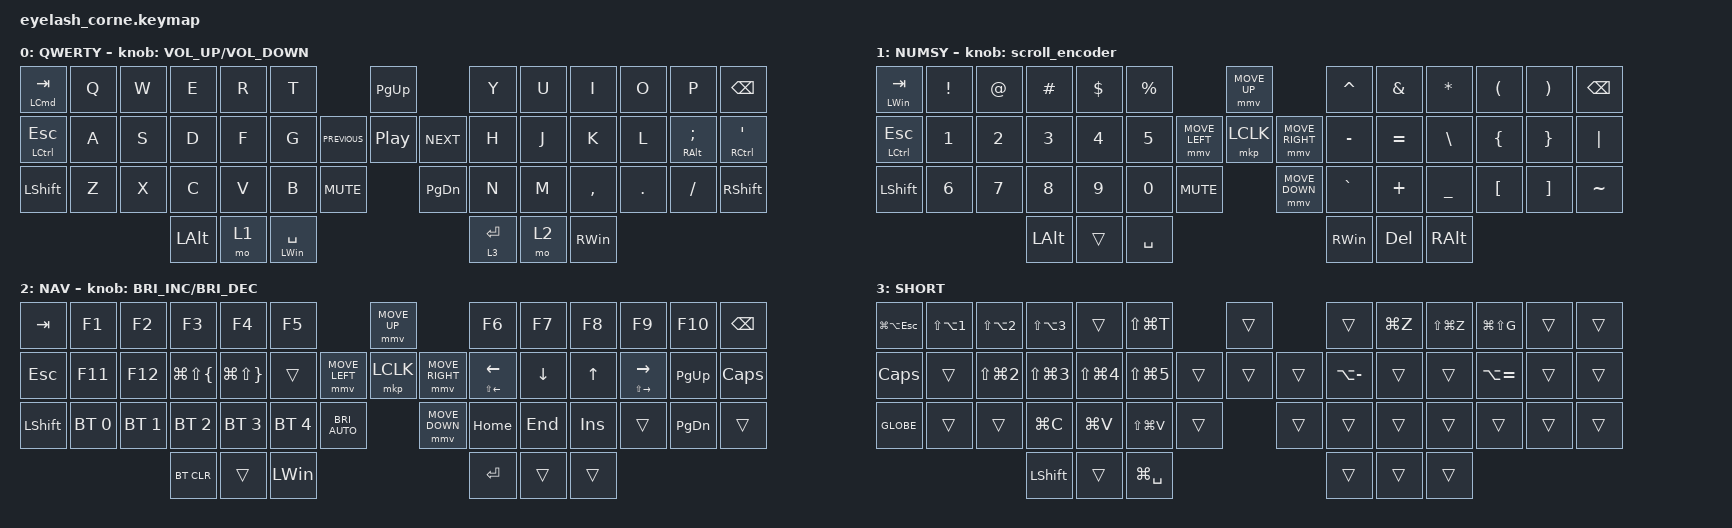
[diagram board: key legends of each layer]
#include <dt-bindings/zmk/mouse.h>
#include <input/processors.dtsi>
#include <behaviors.dtsi>
#include <dt-bindings/zmk/bt.h>
#include <dt-bindings/zmk/keys.h>
#include <dt-bindings/zmk/pointing.h>
#include <dt-bindings/zmk/pointing.h>
#include <dt-bindings/zmk/pointing.h>
#include <dt-bindings/zmk/rgb.h>

/*

   &mmv_input_listener {
       input-processors = <&zip_xy_scaler 2 1>;
   };

   &msc_input_listener {
       input-processors = <&zip_xy_scaler 2 1>;
   };

 */

#define ZMK_MOUSE_DEFAULT_MOVE_VAL 1200  // 600
#define ZMK_MOUSE_DEFAULT_SCRL_VAL 20    // 10

/ {
    behaviors {
        td0: td0 {
            compatible = "zmk,behavior-tap-dance";
            display-name = "Shift/Caps Lock Tap Dance";
            #binding-cells = <0>;
            bindings = <&kp LEFT_SHIFT>, <&kp CAPS>;
        };

        HMR: HMR {
            compatible = "zmk,behavior-hold-tap";
            label = "HMR";
            bindings = <&kp>, <&kp>;

            #binding-cells = <2>;
            flavor = "tap-preferred";
            tapping-term-ms = <250>;
            quick-tap-ms = <150>;
            hold-trigger-on-release;
        };
    };

    rgb_encoder: rgb_encoder {
        compatible = "zmk,behavior-sensor-rotate";
        #sensor-binding-cells = <0>;
        bindings = <&rgb_ug RGB_BRI>, <&rgb_ug RGB_BRD>;
    };

    scroll_encoder: scroll_encoder {
        compatible = "zmk,behavior-sensor-rotate";
        #sensor-binding-cells = <0>;
        bindings = <&msc SCRL_DOWN>, <&msc SCRL_UP>;

        tap-ms = <30>;
    };

    keymap {
        compatible = "zmk,keymap";

        default_layer {
            display-name = "QWERTY";
            bindings = <
&HMR LEFT_COMMAND TAB     &kp Q  &kp W  &kp E         &kp R  &kp T                                              &kp PAGE_UP                   &kp Y        &kp U  &kp I          &kp O    &kp P                &kp BSPC
&HMR LEFT_CONTROL ESCAPE  &kp A  &kp S  &kp D         &kp F  &kp G                              &kp C_PREVIOUS  &kp C_PLAY_PAUSE  &kp C_NEXT  &kp H        &kp J  &kp K          &kp L    &HMR RIGHT_ALT SEMI  &HMR RIGHT_CONTROL APOSTROPHE
&kp LEFT_SHIFT            &kp Z  &kp X  &kp C         &kp V  &kp B                &kp K_MUTE                    &kp PAGE_DOWN                 &kp N        &kp M  &kp COMMA      &kp DOT  &kp FSLH             &kp RIGHT_SHIFT
                                        &kp LEFT_ALT  &mo 1  &HMR LEFT_WIN SPACE                                                              &lt 3 ENTER  &mo 2  &kp RIGHT_WIN
            >;

            sensor-bindings = <&inc_dec_kp C_VOLUME_UP C_VOLUME_DOWN>;
        };

        lower_layer {
            display-name = "NUMSY";
            bindings = <
&HMR LEFT_WIN TAB         &kp EXCL      &kp AT  &kp POUND     &kp DOLLAR    &kp PERCENT                                &mmv MOVE_UP                     &kp CARET      &kp AMPERSAND  &kp STAR        &kp LEFT_PARENTHESIS  &kp RIGHT_PARENTHESIS  &kp BSPC
&HMR LEFT_CONTROL ESCAPE  &kp N1        &kp N2  &kp NUMBER_3  &kp NUMBER_4  &kp N5                     &mmv MOVE_LEFT  &mkp LCLK       &mmv MOVE_RIGHT  &kp MINUS      &kp EQUAL      &kp BACKSLASH   &kp LEFT_BRACE        &kp RIGHT_BRACE        &kp PIPE
&kp LEFT_SHIFT            &kp NUMBER_6  &kp N7  &kp N8        &kp N9        &kp N0       &kp C_MUTE                    &mmv MOVE_DOWN                   &kp GRAVE      &kp PLUS       &kp UNDERSCORE  &kp LEFT_BRACKET      &kp RIGHT_BRACKET      &kp TILDE
                                                &kp LEFT_ALT  &trans        &kp SPACE                                                                   &kp RIGHT_WIN  &kp DEL        &kp RIGHT_ALT
            >;

            sensor-bindings = <&scroll_encoder>;
        };

        raise_layer {
            display-name = "NAV";
            bindings = <
&kp TAB         &kp F1        &kp F2        &kp F3                  &kp F4                   &kp F5                                                 &mmv MOVE_UP                     &kp F6              &kp F7    &kp F8        &kp F9                &kp F10        &kp BSPC
&kp ESCAPE      &kp F11       &kp F12       &kp LG(LS(LEFT_BRACE))  &kp LG(LS(RIGHT_BRACE))  &trans                                 &mmv MOVE_LEFT  &mkp LCLK       &mmv MOVE_RIGHT  &HMR LS(LEFT) LEFT  &kp DOWN  &kp UP_ARROW  &HMR LS(RIGHT) RIGHT  &kp PAGE_UP    &kp CAPSLOCK
&kp LEFT_SHIFT  &bt BT_SEL 0  &bt BT_SEL 1  &bt BT_SEL 2            &bt BT_SEL 3             &bt BT_SEL 4  &kp C_BRIGHTNESS_AUTO                    &mmv MOVE_DOWN                   &kp HOME            &kp END   &kp INS       &trans                &kp PAGE_DOWN  &trans
                                            &bt BT_CLR              &trans                   &kp LEFT_WIN                                                                            &kp RET             &trans    &trans
            >;

            sensor-bindings = <&inc_dec_kp C_BRIGHTNESS_INC C_BRIGHTNESS_DEC>;
        };

        layer_3 {
            display-name = "SHORT";
            bindings = <
&kp LG(LA(ESCAPE))  &kp LS(LA(N1))  &kp LS(LA(N2))  &kp LS(LA(N3))  &trans          &kp LS(LG(T))                     &trans          &trans         &kp LG(Z)  &kp LS(LG(Z))  &kp LG(LS(G))  &trans  &trans
&kp CAPSLOCK        &trans          &kp LS(LG(N2))  &kp LS(LG(N3))  &kp LS(LG(N4))  &kp LS(LG(N5))            &trans  &trans  &trans  &kp LA(MINUS)  &trans     &trans         &kp LA(EQUAL)  &trans  &trans
&kp GLOBE           &trans          &trans          &kp LG(C)       &kp LG(V)       &kp LS(LG(V))   &trans            &trans          &trans         &trans     &trans         &trans         &trans  &trans
                                                    &kp LEFT_SHIFT  &trans          &kp LG(SPACE)                                     &trans         &trans     &trans
            >;
        };
    };
};
